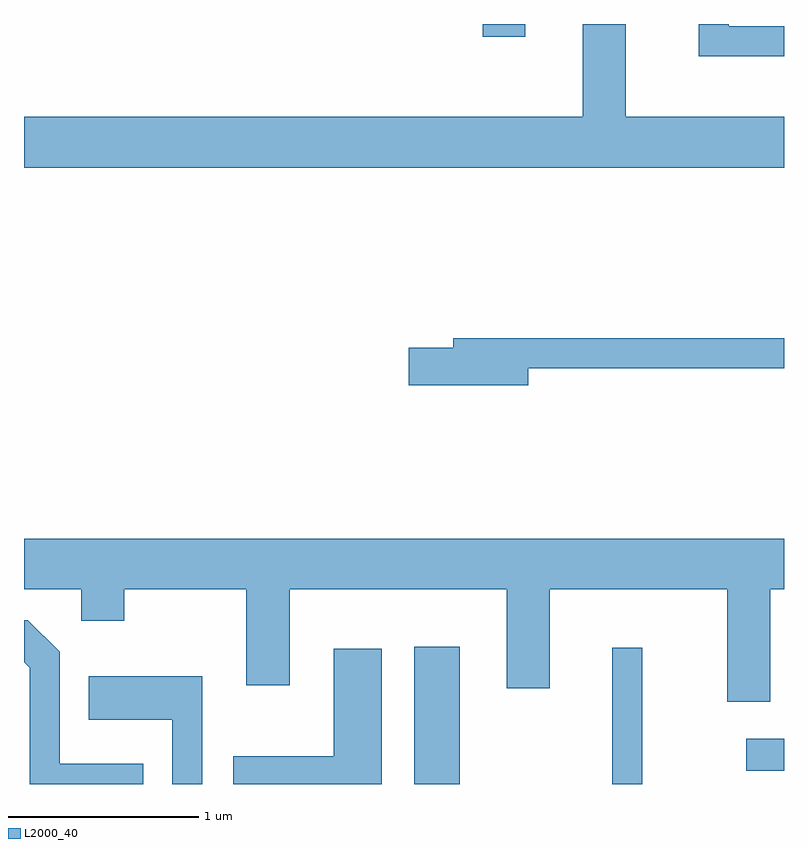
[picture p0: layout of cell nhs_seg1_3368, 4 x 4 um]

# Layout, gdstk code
import gdstk
lib = gdstk.Library(unit=1e-6, precision=1e-09)
def R(c, l, rs):  # rectangles x0, y0, x1, y1
    for r in rs: c.add(gdstk.rectangle(r[:2], r[2:], *l))
def P(c, l, *ps):  # polygons
    for p in ps: c.add(gdstk.Polygon(p, *l))
L2000_40 = (2000, 40)

nhs_seg1_3368 = lib.new_cell('nhs_seg1_3368')
R(nhs_seg1_3368, L2000_40, [(289.666,849.712,289.904,850.434), (290.706,849.712,290.864,850.428), (291.413,849.781,291.611,849.949), (290.026,853.646,290.249,853.712)])
P(nhs_seg1_3368, L2000_40, [(291.611,853.224),(290.779,853.224),(290.779,853.712),(290.551,853.712),(290.551,853.224),(287.611,853.224),(287.611,852.956),(291.611,852.956)],
  [(291.611,853.699),(291.319,853.699),(291.319,853.712),(291.161,853.712),(291.161,853.541),(291.611,853.541)],
  [(290.264,851.901),(291.611,851.901),(291.611,852.059),(289.871,852.059),(289.871,852.009),(289.636,852.009),(289.636,851.811),(290.264,851.811)],
  [(291.539,850.736),(291.611,850.736),(291.611,851.004),(287.611,851.004),(287.611,850.736),(287.911,850.736),(287.911,850.571),(288.139,850.571),(288.139,850.736),(288.781,850.736),(288.781,850.231),(289.009,850.231),(289.009,850.736),(290.151,850.736),(290.151,850.216),(290.379,850.216),(290.379,850.736),(291.311,850.736),(291.311,850.146),(291.539,850.146)],
  [(288.239,849.819),(287.799,849.819),(287.799,850.407),(287.632,850.574),(287.611,850.574),(287.611,850.354),(287.641,850.324),(287.641,849.712),(288.239,849.712)],
  [(289.494,850.424),(289.241,850.424),(289.241,849.859),(288.711,849.859),(288.711,849.712),(289.494,849.712)],
  [(288.549,850.279),(287.951,850.279),(287.951,850.051),(288.391,850.051),(288.391,849.712),(288.549,849.712)])

lib.write_gds('nhs_seg1_3368.gds')
